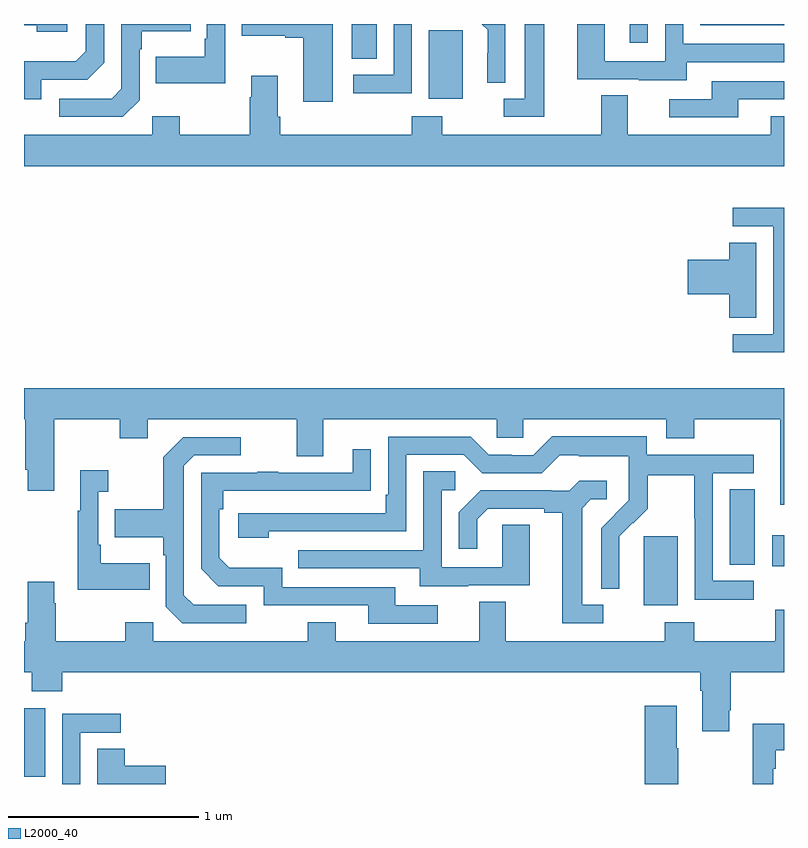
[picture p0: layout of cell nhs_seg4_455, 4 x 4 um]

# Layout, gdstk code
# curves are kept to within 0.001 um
import gdstk
lib = gdstk.Library(unit=1e-6, precision=1e-09)
def R(c, l, rs):  # rectangles x0, y0, x1, y1
    for r in rs: c.add(gdstk.rectangle(r[:2], r[2:], *l))
def P(c, l, *ps):  # polygons
    for p in ps: c.add(gdstk.Polygon(p, *l))
L2000_40 = (2000, 40)

nhs_seg4_455 = lib.new_cell('nhs_seg4_455')
R(nhs_seg4_455, L2000_40, [(133,794.937,133.111,795.298), (136.262,795.842,136.441,796.203), (136.938,796.046,137,796.21), (136.715,796.054,136.846,796.451), (135.131,798.506,135.31,798.867), (134.726,798.718,134.857,798.9), (136.187,798.801,136.284,798.9), (136.56,798.894,137,798.9)])
P(nhs_seg4_455, L2000_40, [(134.058,798.9),(133.962,798.9),(133.962,798.823),(133.95,798.823),(133.95,798.727),(133.693,798.727),(133.693,798.587),(134.058,798.587)],
  [(136.489,798.699),(137,798.699),(137,798.795),(136.47,798.795),(136.47,798.9),(136.374,798.9),(136.374,798.705),(136.056,798.705),(136.056,798.9),(135.911,798.9),(135.911,798.609),(136.235,798.609),(136.235,798.605),(136.489,798.605)],
  [(133.608,798.498),(133.608,798.767),(133.621,798.767),(133.621,798.863),(133.877,798.863),(133.877,798.9),(133.512,798.9),(133.512,798.558),(133.461,798.507),(133.185,798.507),(133.185,798.411),(133.521,798.411)],
  [(135.739,798.9),(135.635,798.9),(135.635,798.507),(135.525,798.507),(135.525,798.411),(135.739,798.411)],
  [(135.042,798.9),(134.946,798.9),(134.946,798.633),(134.733,798.633),(134.733,798.535),(135.042,798.535)],
  [(135.534,798.9),(135.409,798.9),(135.44,798.869),(135.44,798.746),(135.438,798.746),(135.438,798.592),(135.534,798.592)],
  [(133.228,798.9),(133,798.9),(133,798.894),(133.067,798.894),(133.067,798.86),(133.228,798.86)],
  [(133.092,798.606),(133.332,798.606),(133.422,798.696),(133.422,798.9),(133.326,798.9),(133.326,798.756),(133.273,798.703),(133,798.703),(133,798.504),(133.092,798.504)],
  [(134.626,798.9),(134.145,798.9),(134.145,798.839),(134.375,798.839),(134.375,798.827),(134.471,798.827),(134.471,798.492),(134.626,798.492)],
  [(137,798.415),(136.931,798.415),(136.931,798.316),(136.177,798.316),(136.177,798.524),(136.037,798.524),(136.037,798.316),(135.201,798.316),(135.201,798.415),(135.041,798.415),(135.041,798.316),(134.348,798.316),(134.348,798.412),(134.335,798.412),(134.335,798.628),(134.195,798.628),(134.195,798.515),(134.188,798.515),(134.188,798.316),(133.821,798.316),(133.821,798.415),(133.674,798.415),(133.674,798.316),(133,798.316),(133,798.152),(137,798.152)],
  [(136.759,798.504),(137,798.504),(137,798.6),(136.619,798.6),(136.619,798.504),(136.395,798.504),(136.395,798.408),(136.759,798.408)],
  [(137,797.934),(136.731,797.934),(136.731,797.835),(136.944,797.835),(136.944,797.268),(136.731,797.268),(136.731,797.172),(137,797.172)],
  [(136.855,797.75),(136.712,797.75),(136.712,797.66),(136.494,797.66),(136.494,797.477),(136.712,797.477),(136.712,797.353),(136.855,797.353)],
  [(137,796.984),(133,796.984),(133,796.82),(133.007,796.82),(133.007,796.555),(133.019,796.555),(133.019,796.443),(133.159,796.443),(133.159,796.82),(133.504,796.82),(133.504,796.721),(133.651,796.721),(133.651,796.82),(134.435,796.82),(134.435,796.626),(134.575,796.626),(134.575,796.82),(135.489,796.82),(135.489,796.722),(135.627,796.722),(135.627,796.82),(136.379,796.82),(136.379,796.721),(136.527,796.721),(136.527,796.82),(136.979,796.82),(136.979,796.371),(137,796.371)],
  [(136.84,795.969),(136.626,795.969),(136.626,796.536),(136.84,796.536),(136.84,796.632),(136.278,796.632),(136.278,796.729),(135.781,796.729),(135.681,796.629),(135.566,796.629),(135.566,796.632),(135.447,796.632),(135.351,796.728),(134.916,796.728),(134.916,796.423),(134.903,796.423),(134.903,796.326),(134.127,796.326),(134.127,796.196),(134.288,796.196),(134.288,796.23),(135.012,796.23),(135.012,796.632),(135.315,796.632),(135.411,796.536),(135.726,796.536),(135.819,796.629),(135.919,796.629),(135.919,796.625),(136.182,796.625),(136.182,796.491),(136.184,796.491),(136.184,796.394),(136.038,796.246),(136.038,795.928),(136.134,795.928),(136.133,796.205),(136.203,796.275),(136.206,796.272),(136.283,796.349),(136.283,796.524),(136.528,796.524),(136.528,796.3),(136.53,796.3),(136.53,795.871),(136.84,795.871)],
  [(134.17,795.843),(133.893,795.843),(133.842,795.894),(133.842,796.575),(133.896,796.629),(134.14,796.629),(134.14,796.725),(133.839,796.725),(133.734,796.619),(133.734,796.347),(133.477,796.347),(133.477,796.199),(133.734,796.199),(133.734,796.103),(133.746,796.103),(133.746,795.834),(133.833,795.747),(134.17,795.747)],
  [(135.178,795.84),(134.953,795.84),(134.953,795.936),(134.358,795.936),(134.358,796.039),(134.081,796.039),(134.028,796.092),(134.028,796.346),(134.048,796.346),(134.048,796.443),(134.825,796.444),(134.825,796.663),(134.729,796.663),(134.729,796.539),(134.339,796.539),(134.339,796.544),(134.227,796.544),(134.227,796.539),(133.932,796.539),(133.932,796.032),(134.022,795.942),(134.262,795.942),(134.262,795.84),(134.813,795.84),(134.813,795.744),(135.178,795.744)],
  [(133.661,796.063),(133.405,796.063),(133.405,796.159),(133.392,796.159),(133.392,796.439),(133.444,796.439),(133.444,796.552),(133.295,796.552),(133.295,796.339),(133.284,796.339),(133.284,795.923),(133.661,795.923)],
  [(135.337,795.945),(135.661,795.945),(135.661,796.265),(135.516,796.265),(135.516,796.041),(135.198,796.041),(135.198,796.446),(135.271,796.446),(135.271,796.547),(135.102,796.547),(135.102,796.131),(134.443,796.131),(134.443,796.035),(135.083,796.035),(135.083,795.941),(135.337,795.941)],
  [(136.048,795.843),(135.937,795.843),(135.937,796.351),(135.984,796.398),(136.066,796.398),(136.066,796.495),(135.922,796.495),(135.87,796.443),(135.776,796.443),(135.776,796.446),(135.404,796.446),(135.288,796.33),(135.288,796.137),(135.385,796.137),(135.385,796.293),(135.442,796.35),(135.737,796.35),(135.737,796.328),(135.833,796.328),(135.833,795.747),(136.048,795.747)],
  [(136.711,795.289),(136.719,795.289),(136.719,795.488),(137,795.488),(137,795.817),(136.954,795.817),(136.954,795.652),(136.527,795.652),(136.527,795.751),(136.372,795.751),(136.372,795.652),(135.535,795.652),(135.535,795.86),(135.395,795.86),(135.395,795.652),(134.641,795.652),(134.641,795.751),(134.494,795.751),(134.494,795.652),(133.68,795.652),(133.68,795.751),(133.534,795.751),(133.534,795.652),(133.167,795.652),(133.167,795.851),(133.159,795.851),(133.159,795.964),(133.019,795.964),(133.019,795.748),(133.007,795.748),(133.007,795.652),(133,795.652),(133,795.488),(133.042,795.488),(133.042,795.389),(133.202,795.389),(133.202,795.488),(136.559,795.488),(136.559,795.392),(136.571,795.392),(136.571,795.177),(136.711,795.177)],
  [(136.443,795.089),(136.435,795.089),(136.435,795.313),(136.268,795.313),(136.268,794.9),(136.443,794.9)],
  [(133.296,795.171),(133.51,795.171),(133.51,795.27),(133.2,795.27),(133.2,794.9),(133.296,794.9)],
  [(136.944,794.981),(136.957,794.981),(136.957,795.077),(137,795.077),(137,795.217),(136.836,795.217),(136.836,794.9),(136.944,794.9)],
  [(133.747,794.996),(133.529,794.996),(133.529,795.086),(133.385,795.086),(133.385,794.9),(133.747,794.9)])

lib.write_gds('nhs_seg4_455.gds')
